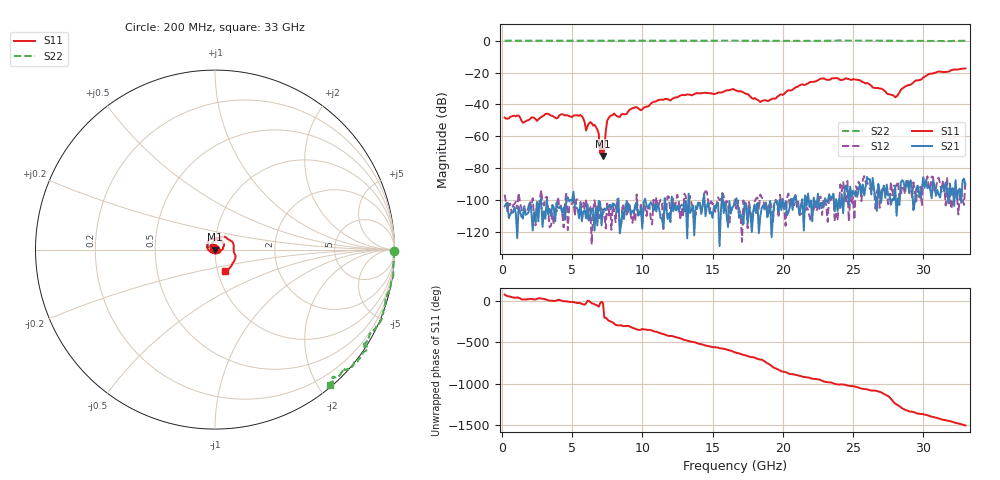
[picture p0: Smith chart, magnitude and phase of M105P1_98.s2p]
# GHZ S RI R 50
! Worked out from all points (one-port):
!   329 points, 200 MHz to 33 GHz, reference 50 ohm
!   lowest |S11| = -72.2 dB at 7.2 GHz (marker M1), VSWR 1.00, Z = 50 - j0.00871 ohm
!   |S11| at or under -10 dB: start of sweep to end of sweep
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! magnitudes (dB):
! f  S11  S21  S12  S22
! 200 MHz  -48.3  -103.9  -96.5  0.0
! 1.5 GHz  -51.5  -111.0  -111.6  0.0
! 3.2 GHz  -45.8  -99.9  -97.8  0.0
! 5.7 GHz  -47.3  -113.2  -104.4  0.0
! 6 GHz  -56.3  -111.4  -99.3  0.0
! 6.3 GHz  -51.1  -109.7  -104.3  0.0
! 6.8 GHz  -55.7  -115.9  -104.1  0.0
! 6.9 GHz  -58.5  -100.5  -111.5  0.0
! 7 GHz  -70.7  -101.2  -102.5  0.0
! 7.1 GHz  -64.2  -115.9  -105.9  0.0
! 7.2 GHz  -72.2  -107.1  -105.9  0.0
! 7.5 GHz  -50.2  -104.5  -100.9  0.0
! 7.7 GHz  -47.4  -103.0  -102.9  0.0
! 11.2 GHz  -37.2  -105.4  -102.0  -0.1
! 16.6 GHz  -31.0  -101.8  -99.6  0.0
! 18.4 GHz  -38.5  -110.2  -96.5  -0.1
! 22.1 GHz  -25.9  -113.3  -106.3  -0.1
! 25.1 GHz  -24.3  -96.6  -112.3  0.1
! 27.6 GHz  -33.6  -97.1  -100.6  0.0
! 28 GHz  -35.5  -90.7  -91.7  0.0
! 30.5 GHz  -20.7  -93.6  -93.6  -0.1
! 33 GHz  -17.4  -90.3  -88.2  -0.1
